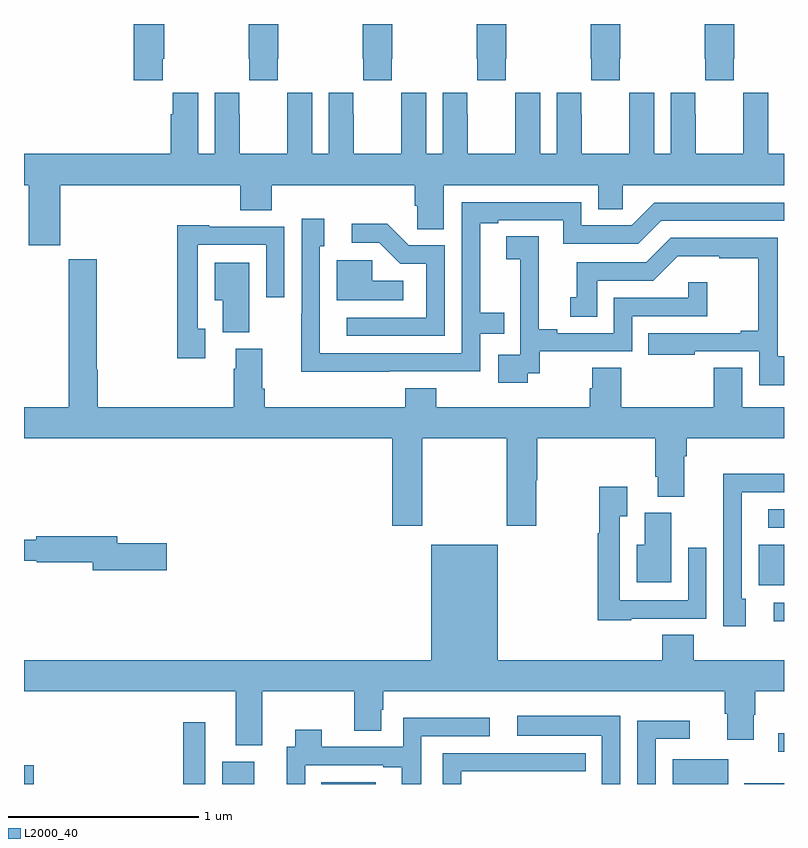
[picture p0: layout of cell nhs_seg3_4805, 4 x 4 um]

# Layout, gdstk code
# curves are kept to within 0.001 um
import gdstk
lib = gdstk.Library(unit=1e-6, precision=1e-09)
def R(c, l, rs):  # rectangles x0, y0, x1, y1
    for r in rs: c.add(gdstk.rectangle(r[:2], r[2:], *l))
def P(c, l, *ps):  # polygons
    for p in ps: c.add(gdstk.Polygon(p, *l))
L2000_40 = (2000, 40)

nhs_seg3_4805 = lib.new_cell('nhs_seg3_4805')
R(nhs_seg3_4805, L2000_40, [(369,728.4,369.05,728.5), (369.838,728.4,369.954,728.725), (370.043,728.4,370.213,728.518), (370.564,728.4,370.852,728.409), (372.414,728.4,372.707,728.53), (372.792,728.4,373,728.404), (372.969,728.57,373,728.667), (372.945,729.257,373,729.354), (372.866,729.447,373,729.658), (372.918,729.75,373,729.846)])
P(nhs_seg3_4805, L2000_40, [(370.335,732.217),(370.338,732.217),(370.338,732.4),(370.183,732.4),(370.183,732.217),(370.185,732.217),(370.185,732.105),(370.335,732.105)],
  [(370.935,732.217),(370.938,732.217),(370.938,732.4),(370.783,732.4),(370.783,732.217),(370.785,732.217),(370.785,732.105),(370.935,732.105)],
  [(371.535,732.217),(371.538,732.217),(371.538,732.4),(371.383,732.4),(371.383,732.217),(371.385,732.217),(371.385,732.105),(371.535,732.105)],
  [(372.135,732.217),(372.138,732.217),(372.138,732.4),(371.983,732.4),(371.983,732.217),(371.985,732.217),(371.985,732.105),(372.135,732.105)],
  [(372.735,732.217),(372.738,732.217),(372.738,732.4),(372.583,732.4),(372.583,732.217),(372.585,732.217),(372.585,732.105),(372.735,732.105)],
  [(369.731,732.217),(369.738,732.217),(369.738,732.4),(369.578,732.4),(369.578,732.105),(369.731,732.105)],
  [(371.057,731.443),(371.07,731.443),(371.07,731.32),(371.209,731.32),(371.209,731.552),(372.023,731.552),(372.023,731.425),(372.15,731.425),(372.15,731.552),(373,731.552),(373,731.716),(372.916,731.716),(372.916,732.037),(372.786,732.037),(372.786,731.924),(372.785,731.924),(372.785,731.716),(372.535,731.716),(372.535,731.924),(372.534,731.924),(372.534,732.037),(372.404,732.037),(372.404,731.716),(372.316,731.716),(372.316,732.037),(372.186,732.037),(372.186,731.924),(372.185,731.924),(372.185,731.716),(371.935,731.716),(371.935,731.924),(371.934,731.924),(371.934,732.037),(371.804,732.037),(371.804,731.716),(371.716,731.716),(371.716,732.037),(371.586,732.037),(371.586,731.924),(371.585,731.924),(371.585,731.716),(371.335,731.716),(371.335,731.924),(371.334,731.924),(371.334,732.037),(371.204,732.037),(371.204,731.716),(371.116,731.716),(371.116,732.037),(370.986,732.037),(370.986,731.924),(370.985,731.924),(370.985,731.716),(370.735,731.716),(370.735,731.924),(370.734,731.924),(370.734,732.037),(370.604,732.037),(370.604,731.716),(370.516,731.716),(370.516,732.037),(370.386,732.037),(370.386,731.924),(370.385,731.924),(370.385,731.716),(370.135,731.716),(370.135,731.924),(370.134,731.924),(370.134,732.037),(370.004,732.037),(370.004,731.716),(369.916,731.716),(369.916,732.037),(369.782,732.037),(369.782,731.924),(369.773,731.924),(369.773,731.716),(369,731.716),(369,731.552),(369.026,731.552),(369.026,731.235),(369.19,731.235),(369.19,731.552),(370.139,731.552),(370.139,731.419),(370.304,731.419),(370.304,731.552),(371.057,731.552)],
  [(370.922,730.572),(371.4,730.572),(371.4,730.77),(371.528,730.77),(371.528,730.879),(371.401,730.879),(371.401,731.352),(371.497,731.352),(371.497,731.367),(371.838,731.367),(371.838,731.244),(372.234,731.244),(372.354,731.364),(373,731.364),(373,731.46),(372.318,731.46),(372.198,731.34),(371.934,731.34),(371.934,731.463),(371.304,731.463),(371.304,730.668),(370.557,730.668),(370.557,731.229),(370.579,731.229),(370.579,731.374),(370.461,731.374),(370.46,730.571)],
  [(371.214,731.235),(371.025,731.235),(370.912,731.348),(370.725,731.348),(370.725,731.25),(370.869,731.25),(370.98,731.139),(371.118,731.139),(371.118,730.854),(370.698,730.854),(370.698,730.758),(371.214,730.758)],
  [(369.955,730.797),(369.915,730.797),(369.915,731.238),(370.275,731.238),(370.275,730.962),(370.371,730.962),(370.371,731.334),(369.975,731.334),(369.975,731.341),(369.807,731.341),(369.807,730.641),(369.955,730.641)],
  [(371.652,730.563),(371.714,730.563),(371.714,730.677),(372.201,730.677),(372.201,730.863),(372.596,730.863),(372.596,731.041),(372.495,731.041),(372.495,730.959),(372.105,730.959),(372.105,730.773),(371.806,730.773),(371.806,730.793),(371.71,730.793),(371.71,731.171),(371.708,731.171),(371.708,731.282),(371.538,731.282),(371.538,731.161),(371.612,731.161),(371.612,730.963),(371.613,730.963),(371.613,730.659),(371.496,730.659),(371.496,730.512),(371.652,730.512)],
  [(373,730.651),(372.966,730.651),(372.966,731.274),(372.405,731.274),(372.276,731.145),(371.909,731.145),(371.909,730.962),(371.876,730.962),(371.876,730.858),(372.016,730.858),(372.016,731.049),(372.312,731.049),(372.44,731.177),(372.659,731.177),(372.659,731.166),(372.865,731.166),(372.865,730.786),(372.773,730.786),(372.773,730.773),(372.286,730.773),(372.286,730.658),(372.529,730.658),(372.529,730.677),(372.87,730.677),(372.87,730.5),(373,730.5)],
  [(371.006,730.384),(370.268,730.384),(370.268,730.48),(370.255,730.48),(370.255,730.692),(370.115,730.692),(370.115,730.586),(370.103,730.586),(370.103,730.384),(369.389,730.384),(369.389,730.58),(369.384,730.58),(369.384,731.163),(369.236,731.163),(369.236,730.384),(369,730.384),(369,730.22),(370.937,730.22),(370.937,729.759),(371.097,729.759),(371.097,730.22),(371.542,730.22),(371.542,729.759),(371.697,729.759),(371.697,729.998),(371.702,729.998),(371.702,730.22),(372.323,730.22),(372.323,730.018),(372.335,730.018),(372.335,729.913),(372.475,729.913),(372.475,730.124),(372.488,730.124),(372.488,730.22),(373,730.22),(373,730.384),(372.781,730.384),(372.781,730.592),(372.629,730.592),(372.629,730.384),(372.143,730.384),(372.143,730.592),(371.99,730.592),(371.99,730.482),(371.978,730.482),(371.978,730.384),(371.171,730.384),(371.171,730.483),(371.006,730.483)],
  [(370.996,731.05),(370.833,731.05),(370.833,731.157),(370.646,731.157),(370.646,730.946),(370.996,730.946)],
  [(370.186,731.143),(370.004,731.143),(370.004,730.946),(370.046,730.946),(370.046,730.777),(370.186,730.777)],
  [(372.799,729.375),(372.777,729.375),(372.777,729.936),(373,729.936),(373,730.034),(372.68,730.034),(372.68,729.73),(372.681,729.73),(372.681,729.231),(372.799,729.231)],
  [(372.195,729.27),(372.591,729.27),(372.591,729.643),(372.495,729.643),(372.495,729.366),(372.135,729.366),(372.135,729.808),(372.175,729.808),(372.175,729.964),(372.027,729.964),(372.027,729.719),(372.019,729.719),(372.019,729.263),(372.195,729.263)],
  [(372.406,729.828),(372.266,729.828),(372.266,729.658),(372.224,729.658),(372.224,729.461),(372.406,729.461)],
  [(369.751,729.668),(369.49,729.668),(369.49,729.704),(369.064,729.704),(369.064,729.685),(369,729.685),(369,729.576),(369.066,729.576),(369.066,729.568),(369.362,729.568),(369.362,729.526),(369.751,729.526)],
  [(372.524,729.185),(372.359,729.185),(372.359,729.052),(371.494,729.052),(371.494,729.658),(371.144,729.658),(371.144,729.052),(369,729.052),(369,728.888),(370.115,728.888),(370.115,728.603),(370.255,728.603),(370.255,728.888),(370.739,728.888),(370.739,728.68),(370.879,728.68),(370.879,728.79),(370.892,728.79),(370.892,728.888),(372.689,728.888),(372.689,728.769),(372.701,728.769),(372.701,728.634),(372.841,728.634),(372.841,728.764),(372.849,728.764),(372.849,728.888),(373,728.888),(373,729.052),(372.524,729.052)],
  [(372.138,728.758),(371.595,728.758),(371.595,728.654),(372.042,728.654),(372.042,728.4),(372.138,728.4)],
  [(370.479,728.499),(370.892,728.499),(370.892,728.487),(370.988,728.487),(370.988,728.4),(371.092,728.4),(371.092,728.652),(371.452,728.652),(371.452,728.749),(370.995,728.749),(370.995,728.595),(370.567,728.595),(370.567,728.686),(370.427,728.686),(370.427,728.595),(370.382,728.595),(370.382,728.4),(370.479,728.4)],
  [(372.324,728.637),(372.505,728.637),(372.505,728.734),(372.228,728.734),(372.228,728.4),(372.324,728.4)],
  [(371.301,728.466),(371.957,728.466),(371.957,728.562),(371.205,728.562),(371.205,728.4),(371.301,728.4)])

lib.write_gds('nhs_seg3_4805.gds')
